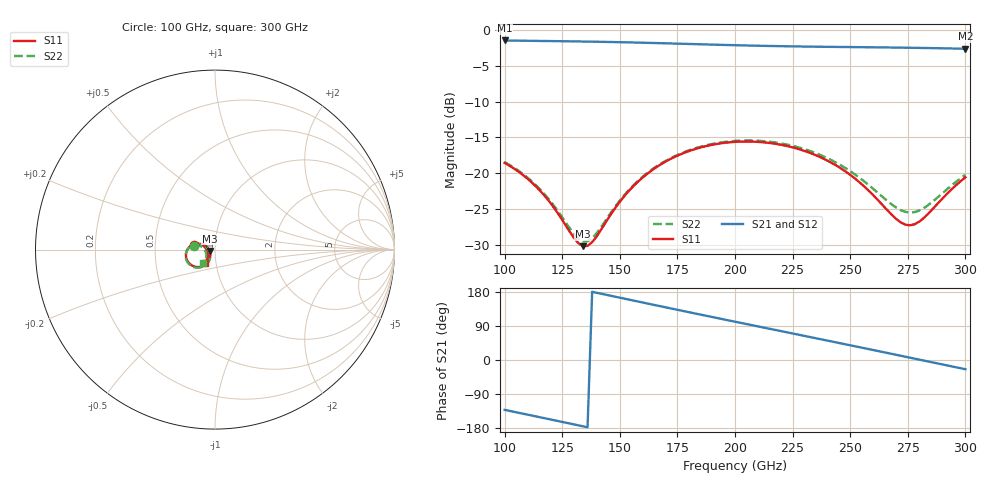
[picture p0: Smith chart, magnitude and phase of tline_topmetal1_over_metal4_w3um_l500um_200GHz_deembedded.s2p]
! Created with skrf 2.2.0 (http://scikit-rf.org).
# GHz S DB R 50.0
! Port[1] = P1
! Port[2] = P2
!freq dBS11 angS11 dBS21 angS21 dBS12 angS12 dBS22 angS22
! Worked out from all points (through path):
!   101 points, 100 GHz to 300 GHz, reference 50 ohm
!   highest |S21| = -1.46 dB at 100 GHz (marker M1); lowest = -2.6 dB at 300 GHz (marker M2)
!   group delay of S21, straight-line fit = 3.5 ps
!   lowest |S11| = -30.2 dB at 134 GHz (marker M3), VSWR 1.06, Z = 47.1 - j0.719 ohm
!   |S11| at or under -10 dB: start of sweep to end of sweep
!   |S22| runs from -29.5 to -15.4 dB; largest |S21 - S12| = 8.6e-14
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100  -18.55 167.6  -1.46 -131.6  -1.46 -131.6  -18.44 169.3
108  -20.25 160.9  -1.49 -141.7  -1.49 -141.7  -20.11 162.8
116  -22.64 157.0  -1.53 -151.9  -1.53 -151.9  -22.44 159.3
122  -25.07 158.3  -1.55 -159.5  -1.55 -159.5  -24.77 161.0
130  -28.98 174.9  -1.58 -169.8  -1.58 -169.8  -28.43 177.2
134  -30.17 -165.7  -1.60 -174.9  -1.60 -174.9  -29.53 -164.8
138  -29.62 -144.2  -1.62 179.9  -1.62 179.9  -29.08 -144.7
150  -23.98 -119.0  -1.70 164.5  -1.70 164.5  -23.81 -119.3
158  -21.14 -120.1  -1.76 154.2  -1.76 154.2  -21.02 -119.7
168  -18.72 -126.8  -1.84 141.4  -1.84 141.4  -18.61 -125.8
184  -16.49 -141.4  -1.98 121.1  -1.98 121.1  -16.38 -139.8
200  -15.62 -157.4  -2.12 101.1  -2.12 101.1  -15.48 -155.2
216  -15.81 -173.2  -2.23 81.2  -2.23 81.2  -15.63 -170.3
234  -17.33 170.8  -2.32 58.8  -2.32 58.8  -17.05 174.7
244  -18.92 163.8  -2.36 46.4  -2.36 46.4  -18.53 168.5
252  -20.71 160.6  -2.39 36.3  -2.39 36.3  -20.15 166.0
268  -25.78 172.1  -2.44 16.2  -2.44 16.2  -24.34 177.2
274  -27.17 -170.1  -2.47 8.6  -2.47 8.6  -25.39 -168.9
278  -27.11 -155.7  -2.49 3.5  -2.49 3.5  -25.41 -157.7
282  -26.23 -143.4  -2.51 -1.5  -2.51 -1.5  -24.85 -147.7
288  -24.22 -132.3  -2.54 -9.1  -2.54 -9.1  -23.35 -137.3
300  -20.57 -128.2  -2.62 -24.3  -2.62 -24.3  -20.20 -131.5
